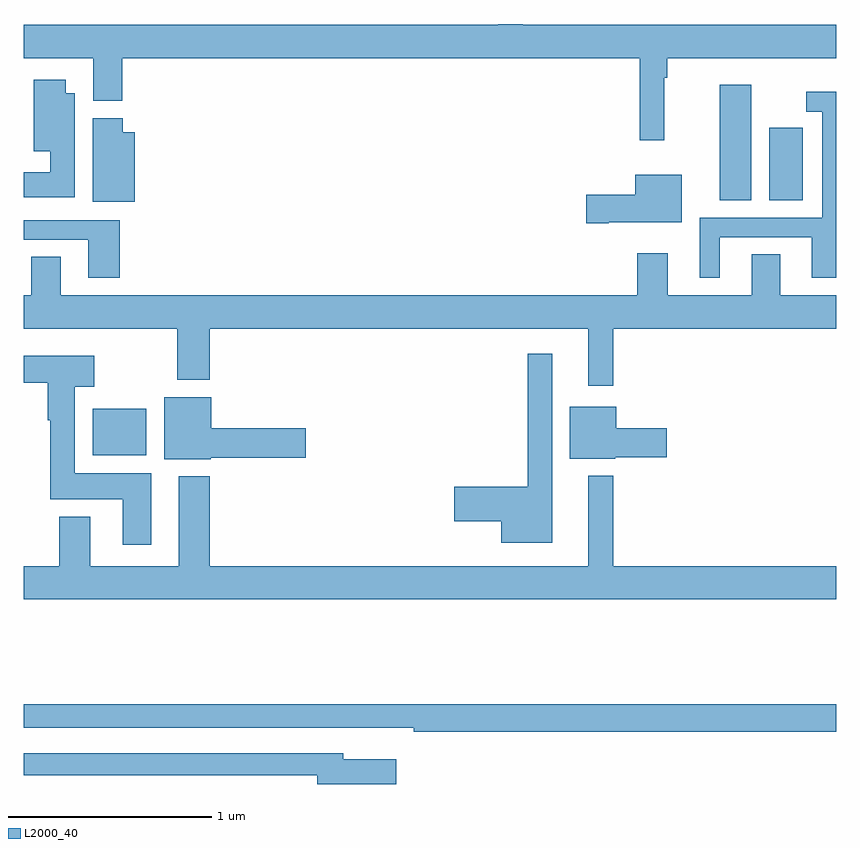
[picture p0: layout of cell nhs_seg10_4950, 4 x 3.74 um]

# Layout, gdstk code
import gdstk
lib = gdstk.Library(unit=1e-6, precision=1e-09)
def R(c, l, rs):  # rectangles x0, y0, x1, y1
    for r in rs: c.add(gdstk.rectangle(r[:2], r[2:], *l))
def P(c, l, *ps):  # polygons
    for p in ps: c.add(gdstk.Polygon(p, *l))
L2000_40 = (2000, 40)

nhs_seg10_4950 = lib.new_cell('nhs_seg10_4950')
R(nhs_seg10_4950, L2000_40, [(397.34,1282.376,397.603,1282.606), (400.427,1283.632,400.582,1284.202), (400.67,1283.632,400.834,1283.989)])
P(nhs_seg10_4950, L2000_40, [(400.154,1284.236),(400.169,1284.236),(400.169,1284.332),(401,1284.332),(401,1284.496),(399.457,1284.496),(399.457,1284.5),(399.335,1284.5),(399.335,1284.496),(397,1284.496),(397,1284.332),(397.343,1284.332),(397.343,1284.121),(397.484,1284.121),(397.484,1284.332),(400.033,1284.332),(400.033,1283.928),(400.154,1283.928)],
  [(397.252,1284.16),(397.207,1284.16),(397.207,1284.226),(397.049,1284.226),(397.049,1283.873),(397.13,1283.873),(397.13,1283.77),(397,1283.77),(397,1283.648),(397.252,1283.648)],
  [(400.426,1283.451),(400.88,1283.451),(400.88,1283.25),(401,1283.25),(401,1284.166),(400.851,1284.166),(400.851,1284.069),(400.932,1284.069),(400.932,1283.547),(400.328,1283.547),(400.328,1283.25),(400.426,1283.25)],
  [(397.546,1283.968),(397.487,1283.968),(397.487,1284.036),(397.34,1284.036),(397.34,1283.624),(397.546,1283.624)],
  [(399.88,1283.525),(400.24,1283.525),(400.24,1283.758),(400.01,1283.758),(400.01,1283.66),(399.768,1283.66),(399.768,1283.518),(399.88,1283.518)],
  [(397.472,1283.535),(397,1283.535),(397,1283.439),(397.319,1283.439),(397.319,1283.25),(397.472,1283.25)],
  [(399.901,1283),(401,1283),(401,1283.164),(400.723,1283.164),(400.723,1283.366),(400.583,1283.366),(400.583,1283.164),(400.171,1283.164),(400.171,1283.371),(400.019,1283.371),(400.019,1283.164),(397.183,1283.164),(397.183,1283.354),(397.036,1283.354),(397.036,1283.164),(397,1283.164),(397,1283),(397.756,1283),(397.756,1282.748),(397.916,1282.748),(397.916,1283),(399.779,1283),(399.779,1282.719),(399.901,1282.719)],
  [(399.601,1282.876),(399.48,1282.876),(399.48,1282.223),(399.12,1282.223),(399.12,1282.052),(399.35,1282.052),(399.35,1281.947),(399.601,1281.947)],
  [(397.627,1282.288),(397.252,1282.288),(397.252,1282.715),(397.348,1282.715),(397.348,1282.867),(397,1282.867),(397,1282.733),(397.118,1282.733),(397.118,1282.549),(397.13,1282.549),(397.13,1282.16),(397.487,1282.16),(397.487,1281.936),(397.627,1281.936)],
  [(397.92,1282.364),(398.389,1282.364),(398.389,1282.511),(397.924,1282.511),(397.924,1282.663),(397.691,1282.663),(397.691,1282.358),(397.92,1282.358)],
  [(399.912,1282.367),(400.165,1282.367),(400.165,1282.509),(399.916,1282.509),(399.916,1282.615),(399.689,1282.615),(399.689,1282.361),(399.912,1282.361)],
  [(401,1281.832),(399.901,1281.832),(399.901,1282.276),(399.779,1282.276),(399.779,1281.832),(397.916,1281.832),(397.916,1282.273),(397.763,1282.273),(397.763,1281.832),(397.327,1281.832),(397.327,1282.075),(397.175,1282.075),(397.175,1281.832),(397,1281.832),(397,1281.668),(401,1281.668)],
  [(401,1281.152),(397,1281.152),(397,1281.036),(398.668,1281.036),(398.668,1281.035),(398.92,1281.035),(398.92,1281.016),(401,1281.016)],
  [(398.833,1280.881),(398.572,1280.881),(398.572,1280.91),(397,1280.91),(397,1280.802),(398.444,1280.802),(398.444,1280.759),(398.833,1280.759)])

lib.write_gds('nhs_seg10_4950.gds')
